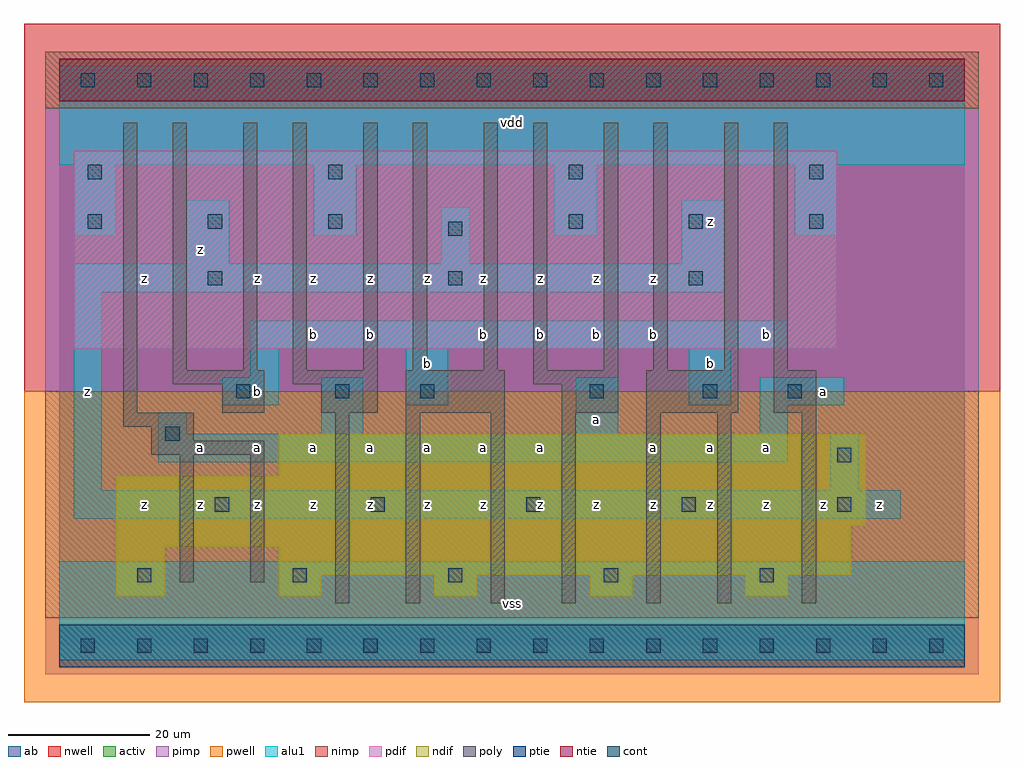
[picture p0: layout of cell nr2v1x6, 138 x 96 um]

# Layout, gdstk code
import gdstk
lib = gdstk.Library(unit=1e-6, precision=1e-09)
def R(c, l, rs):  # rectangles x0, y0, x1, y1
    for r in rs: c.add(gdstk.rectangle(r[:2], r[2:], *l))
def A(c, l, x, y, w, h, nx, ny, dx, dy):  # array of equal rectangles
    R(c, l, [(x+i*dx, y+j*dy, x+i*dx+w, y+j*dy+h) for i in range(nx) for j in range(ny)])
ndif = (3, 0)
pdif = (4, 0)
ntie = (5, 0)
ptie = (6, 0)
cont = (25, 0)
pwell = (41, 0)
nwell = (42, 0)
activ = (43, 0)
pimp = (44, 0)
nimp = (45, 0)
poly = (46, 0)
alu1 = (49, 0)
ab = (63, 0)

nr2v1x6 = lib.new_cell('nr2v1x6')
A(nr2v1x6, ndif, 31, 7, 6, 3, 4, 1, 22, 0)
R(nr2v1x6, ndif, [(8,7,15,14), (31,10,112,14), (8,14,112,17), (8,17,114,24), (31,24,114,30)])
R(nr2v1x6, pdif, [(2,42,110,70)])
R(nr2v1x6, ntie, [(0,77,128,83)])
R(nr2v1x6, ptie, [(0,-3,128,3)])
A(nr2v1x6, cont, 3, -1, 2, 2, 16, 2, 8, 80)
A(nr2v1x6, cont, 11, 9, 2, 2, 5, 1, 22, 0)
A(nr2v1x6, cont, 22, 19, 2, 2, 5, 1, 22, 0)
A(nr2v1x6, cont, 21, 51, 2, 2, 3, 1, 34, 0)
A(nr2v1x6, cont, 4, 59, 2, 2, 3, 1, 17, 0)
A(nr2v1x6, cont, 72, 59, 2, 2, 3, 1, 17, 0)
A(nr2v1x6, cont, 4, 66, 2, 2, 4, 1, 34, 0)
R(nr2v1x6, cont, [(110,26,112,28), (15,29,17,31), (25,35,27,37), (39,35,41,37), (51,35,53,37), (75,35,77,37), (91,35,93,37), (103,35,105,37), (55,58,57,60)])
R(nr2v1x6, pwell, [(-5,-8,133,36)])
R(nr2v1x6, nwell, [(-5,36,133,88)])
A(nr2v1x6, activ, 31, 7, 6, 3, 4, 1, 22, 0)
R(nr2v1x6, activ, [(0,-3,128,3), (8,7,15,14), (31,10,112,14), (8,14,112,17), (8,17,114,24), (31,24,114,30), (2,42,110,70), (0,77,128,83)])
R(nr2v1x6, pimp, [(-2,-4,130,4), (-2,36,130,76)])
R(nr2v1x6, nimp, [(-2,4,130,36), (-2,76,130,84)])
R(nr2v1x6, poly, [(39,6,41,33), (49,6,51,33), (61,6,63,33), (71,6,73,33), (83,6,85,33), (93,6,95,33), (105,6,107,33), (17,9,19,27), (27,9,29,27), (13,27,29,29), (13,29,19,31), (9,31,19,33), (9,33,11,74), (23,33,29,37), (37,33,45,37), (49,33,63,39), (71,33,79,37), (83,33,96,39), (101,33,107,39), (16,37,29,39), (33,37,45,39), (67,37,79,39), (16,39,18,74), (26,39,28,74), (33,39,35,74), (43,39,45,74), (50,39,52,74), (60,39,62,74), (67,39,69,74), (77,39,79,74), (84,39,86,74), (94,39,96,74), (101,39,103,74)])
A(nr2v1x6, alu1, 2, 58, 6, 10, 4, 1, 34, 0)
R(nr2v1x6, alu1, [(0,-2,128,12), (2,18,119,22), (2,22,6,50), (109,22,113,30), (14,26,103,30), (14,30,18,33), (37,30,43,38), (73,30,79,38), (99,30,103,34), (23,34,31,38), (49,34,55,42), (89,34,95,42), (99,34,111,38), (27,38,31,42), (27,42,103,46), (2,50,94,54), (18,54,24,63), (54,54,58,62), (88,54,94,63), (0,68,128,82)])
R(nr2v1x6, ab, [(0,0,128,80)])
nr2v1x6.add(gdstk.Label('a', (20,28), layer=49, texttype=0))
nr2v1x6.add(gdstk.Label('z', (20,20), layer=49, texttype=0))
nr2v1x6.add(gdstk.Label('z', (12,20), layer=49, texttype=0))
nr2v1x6.add(gdstk.Label('z', (4,36), layer=49, texttype=0))
nr2v1x6.add(gdstk.Label('z', (12,52), layer=49, texttype=0))
nr2v1x6.add(gdstk.Label('z', (20,56), layer=49, texttype=0))
nr2v1x6.add(gdstk.Label('a', (44,28), layer=49, texttype=0))
nr2v1x6.add(gdstk.Label('z', (44,20), layer=49, texttype=0))
nr2v1x6.add(gdstk.Label('a', (36,28), layer=49, texttype=0))
nr2v1x6.add(gdstk.Label('z', (36,20), layer=49, texttype=0))
nr2v1x6.add(gdstk.Label('a', (28,28), layer=49, texttype=0))
nr2v1x6.add(gdstk.Label('z', (28,20), layer=49, texttype=0))
nr2v1x6.add(gdstk.Label('b', (44,44), layer=49, texttype=0))
nr2v1x6.add(gdstk.Label('b', (36,44), layer=49, texttype=0))
nr2v1x6.add(gdstk.Label('b', (28,36), layer=49, texttype=0))
nr2v1x6.add(gdstk.Label('z', (44,52), layer=49, texttype=0))
nr2v1x6.add(gdstk.Label('z', (36,52), layer=49, texttype=0))
nr2v1x6.add(gdstk.Label('z', (28,52), layer=49, texttype=0))
nr2v1x6.add(gdstk.Label('vss', (64,6), layer=49, texttype=0))
nr2v1x6.add(gdstk.Label('a', (52,28), layer=49, texttype=0))
nr2v1x6.add(gdstk.Label('z', (52,20), layer=49, texttype=0))
nr2v1x6.add(gdstk.Label('a', (68,28), layer=49, texttype=0))
nr2v1x6.add(gdstk.Label('z', (68,20), layer=49, texttype=0))
nr2v1x6.add(gdstk.Label('a', (60,28), layer=49, texttype=0))
nr2v1x6.add(gdstk.Label('z', (60,20), layer=49, texttype=0))
nr2v1x6.add(gdstk.Label('b', (52,40), layer=49, texttype=0))
nr2v1x6.add(gdstk.Label('b', (68,44), layer=49, texttype=0))
nr2v1x6.add(gdstk.Label('b', (60,44), layer=49, texttype=0))
nr2v1x6.add(gdstk.Label('z', (68,52), layer=49, texttype=0))
nr2v1x6.add(gdstk.Label('z', (60,52), layer=49, texttype=0))
nr2v1x6.add(gdstk.Label('z', (52,52), layer=49, texttype=0))
nr2v1x6.add(gdstk.Label('vdd', (64,74), layer=49, texttype=0))
nr2v1x6.add(gdstk.Label('z', (76,20), layer=49, texttype=0))
nr2v1x6.add(gdstk.Label('a', (92,28), layer=49, texttype=0))
nr2v1x6.add(gdstk.Label('z', (92,20), layer=49, texttype=0))
nr2v1x6.add(gdstk.Label('a', (84,28), layer=49, texttype=0))
nr2v1x6.add(gdstk.Label('z', (84,20), layer=49, texttype=0))
nr2v1x6.add(gdstk.Label('a', (100,28), layer=49, texttype=0))
nr2v1x6.add(gdstk.Label('z', (100,20), layer=49, texttype=0))
nr2v1x6.add(gdstk.Label('a', (76,32), layer=49, texttype=0))
nr2v1x6.add(gdstk.Label('b', (76,44), layer=49, texttype=0))
nr2v1x6.add(gdstk.Label('b', (92,40), layer=49, texttype=0))
nr2v1x6.add(gdstk.Label('b', (84,44), layer=49, texttype=0))
nr2v1x6.add(gdstk.Label('b', (100,44), layer=49, texttype=0))
nr2v1x6.add(gdstk.Label('z', (84,52), layer=49, texttype=0))
nr2v1x6.add(gdstk.Label('z', (76,52), layer=49, texttype=0))
nr2v1x6.add(gdstk.Label('z', (92,60), layer=49, texttype=0))
nr2v1x6.add(gdstk.Label('z', (116,20), layer=49, texttype=0))
nr2v1x6.add(gdstk.Label('z', (108,20), layer=49, texttype=0))
nr2v1x6.add(gdstk.Label('a', (108,36), layer=49, texttype=0))

lib.write_gds('nr2v1x6.gds')
